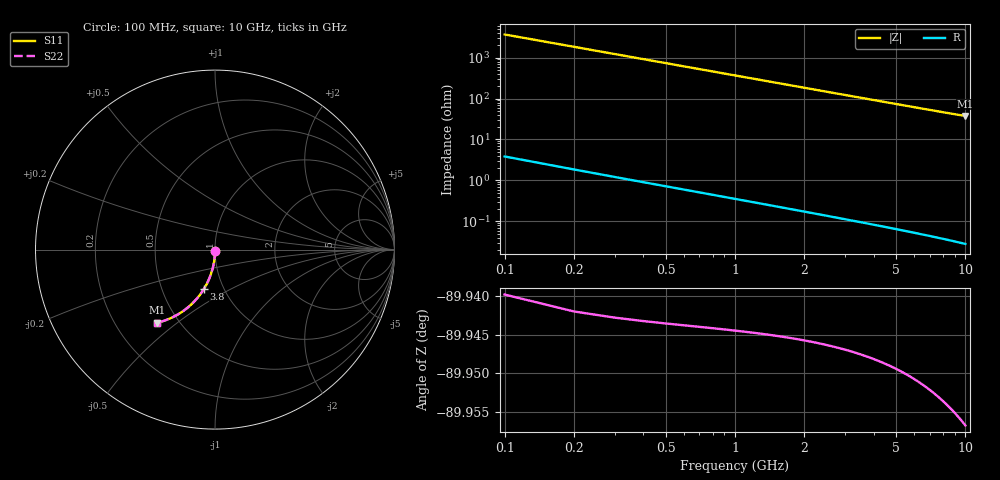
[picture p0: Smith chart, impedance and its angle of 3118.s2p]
# Hz S RI R 50.00
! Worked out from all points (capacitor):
!   100 points, 100 MHz to 10 GHz, reference 50 ohm
!   read as one part in shunt: C = 434 fF near 100 MHz
!   lowest |Z| = 37.4 ohm at 10 GHz (marker M1)
!   S11 on the Smith chart (normalised r, x): 100 MHz: 1.00, -0.01; 3.8 GHz: 0.80, -0.37; 10 GHz: 0.38, -0.43
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1e8  0.000312 -0.00622  0.9996 -0.00742  0.9996 -0.00742  0.000312 -0.00622
2e8  0.000169 -0.0124  0.9994 -0.0148  0.9994 -0.0148  0.000169 -0.0124
3e8  -6.69e-05 -0.0187  0.9992 -0.0223  0.9992 -0.0223  -6.69e-05 -0.0187
4e8  -0.000395 -0.0249  0.9989 -0.0297  0.9989 -0.0297  -0.000395 -0.0249
5e8  -0.000815 -0.0311  0.9984 -0.0371  0.9984 -0.0371  -0.000815 -0.0311
6e8  -0.00133 -0.0373  0.9979 -0.0445  0.9979 -0.0445  -0.00133 -0.0373
7e8  -0.00193 -0.0435  0.9973 -0.0519  0.9973 -0.0519  -0.00193 -0.0435
8e8  -0.00263 -0.0496  0.9966 -0.0592  0.9966 -0.0592  -0.00263 -0.0496
9e8  -0.00341 -0.0558  0.9958 -0.0666  0.9958 -0.0666  -0.00341 -0.0558
1.1e9  -0.00526 -0.068  0.9939 -0.0813  0.9939 -0.0813  -0.00526 -0.068
1.4e9  -0.00869 -0.0863  0.9904 -0.1031  0.9904 -0.1031  -0.00869 -0.0863
1.8e9  -0.0145 -0.1103  0.9845 -0.1319  0.9845 -0.1319  -0.0145 -0.1103
2.1e9  -0.0198 -0.1279  0.9792 -0.1531  0.9792 -0.1531  -0.0198 -0.1279
2.5e9  -0.0279 -0.151  0.9709 -0.181  0.9709 -0.181  -0.0279 -0.151
2.9e9  -0.0373 -0.1733  0.9613 -0.2082  0.9613 -0.2082  -0.0373 -0.1733
3.4e9  -0.0508 -0.2002  0.9476 -0.2411  0.9476 -0.2411  -0.0508 -0.2002
3.8e9  -0.0627 -0.2208  0.9354 -0.2665  0.9354 -0.2665  -0.0627 -0.2208
4.4e9  -0.0826 -0.2499  0.9152 -0.3029  0.9152 -0.3029  -0.0826 -0.2499
5.1e9  -0.1081 -0.281  0.8891 -0.3425  0.8891 -0.3425  -0.1081 -0.281
6.7e9  -0.174 -0.3399  0.8218 -0.4209  0.8218 -0.4209  -0.174 -0.3399
8.4e9  -0.2503 -0.3834  0.7436 -0.4854  0.7436 -0.4854  -0.2503 -0.3834
1e10  -0.3229 -0.4076  0.6687 -0.5296  0.6687 -0.5296  -0.3229 -0.4076
